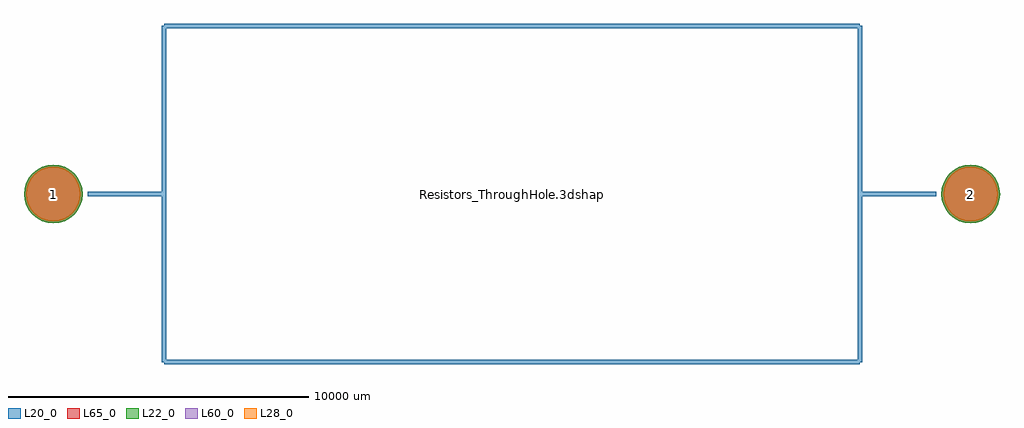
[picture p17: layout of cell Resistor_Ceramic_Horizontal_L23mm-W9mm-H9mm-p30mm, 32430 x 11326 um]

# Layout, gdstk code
import gdstk
lib = gdstk.Library(unit=1e-6, precision=1e-09)
def P(c, l, *ps):  # polygons
    for p in ps: c.add(gdstk.Polygon(p, *l))
L20_0 = (20, 0)
L22_0 = (22, 0)
L28_0 = (28, 0)
L60_0 = (60, 0)
L65_0 = (65, 0)

resistor_ceramic_horizon = lib.new_cell('Resistor_Ceramic_Horizontal_L23mm-W9mm-H9mm-p30mm')
P(resistor_ceramic_horizon, L22_0, [(16215,0),(16196.266,190.213),(16140.783,373.116),(16050.683,541.681),(15929.429,689.429),(15781.681,810.683),(15613.116,900.783),(15430.213,956.266),(15240,975),(15049.787,956.266),(14866.884,900.783),(14698.319,810.683),(14550.571,689.429),(14429.317,541.681),(14339.217,373.116),(14283.734,190.213),(14265,0),(14283.734,-190.213),(14339.217,-373.116),(14429.317,-541.681),(14550.571,-689.429),(14698.319,-810.683),(14866.884,-900.783),(15049.787,-956.266),(15240,-975),(15430.213,-956.266),(15613.116,-900.783),(15781.681,-810.683),(15929.429,-689.429),(16050.683,-541.681),(16140.783,-373.116),(16196.266,-190.213)],
  [(-14265,0),(-14283.734,190.213),(-14339.217,373.116),(-14429.317,541.681),(-14550.571,689.429),(-14698.319,810.683),(-14866.884,900.783),(-15049.787,956.266),(-15240,975),(-15430.213,956.266),(-15613.116,900.783),(-15781.681,810.683),(-15929.429,689.429),(-16050.683,541.681),(-16140.783,373.116),(-16196.266,190.213),(-16215,0),(-16196.266,-190.213),(-16140.783,-373.116),(-16050.683,-541.681),(-15929.429,-689.429),(-15781.681,-810.683),(-15613.116,-900.783),(-15430.213,-956.266),(-15240,-975),(-15049.787,-956.266),(-14866.884,-900.783),(-14698.319,-810.683),(-14550.571,-689.429),(-14429.317,-541.681),(-14339.217,-373.116),(-14283.734,-190.213)])
P(resistor_ceramic_horizon, L28_0, [(16140,0),(16122.707,175.581),(16071.492,344.415),(15988.323,500.013),(15876.396,636.396),(15740.013,748.323),(15584.415,831.492),(15415.581,882.707),(15240,900),(15064.419,882.707),(14895.585,831.492),(14739.987,748.323),(14603.604,636.396),(14491.677,500.013),(14408.508,344.415),(14357.293,175.581),(14340,0),(14357.293,-175.581),(14408.508,-344.415),(14491.677,-500.013),(14603.604,-636.396),(14739.987,-748.323),(14895.585,-831.492),(15064.419,-882.707),(15240,-900),(15415.581,-882.707),(15584.415,-831.492),(15740.013,-748.323),(15876.396,-636.396),(15988.323,-500.013),(16071.492,-344.415),(16122.707,-175.581)],
  [(-14340,0),(-14357.293,175.581),(-14408.508,344.415),(-14491.677,500.013),(-14603.604,636.396),(-14739.987,748.323),(-14895.585,831.492),(-15064.419,882.707),(-15240,900),(-15415.581,882.707),(-15584.415,831.492),(-15740.013,748.323),(-15876.396,636.396),(-15988.323,500.013),(-16071.492,344.415),(-16122.707,175.581),(-16140,0),(-16122.707,-175.581),(-16071.492,-344.415),(-15988.323,-500.013),(-15876.396,-636.396),(-15740.013,-748.323),(-15584.415,-831.492),(-15415.581,-882.707),(-15240,-900),(-15064.419,-882.707),(-14895.585,-831.492),(-14739.987,-748.323),(-14603.604,-636.396),(-14491.677,-500.013),(-14408.508,-344.415),(-14357.293,-175.581)])
P(resistor_ceramic_horizon, L60_0, [(16140,0),(16122.707,175.581),(16071.492,344.415),(15988.323,500.013),(15876.396,636.396),(15740.013,748.323),(15584.415,831.492),(15415.581,882.707),(15240,900),(15064.419,882.707),(14895.585,831.492),(14739.987,748.323),(14603.604,636.396),(14491.677,500.013),(14408.508,344.415),(14357.293,175.581),(14340,0),(14357.293,-175.581),(14408.508,-344.415),(14491.677,-500.013),(14603.604,-636.396),(14739.987,-748.323),(14895.585,-831.492),(15064.419,-882.707),(15240,-900),(15415.581,-882.707),(15584.415,-831.492),(15740.013,-748.323),(15876.396,-636.396),(15988.323,-500.013),(16071.492,-344.415),(16122.707,-175.581)],
  [(-14340,0),(-14357.293,175.581),(-14408.508,344.415),(-14491.677,500.013),(-14603.604,636.396),(-14739.987,748.323),(-14895.585,831.492),(-15064.419,882.707),(-15240,900),(-15415.581,882.707),(-15584.415,831.492),(-15740.013,748.323),(-15876.396,636.396),(-15988.323,500.013),(-16071.492,344.415),(-16122.707,175.581),(-16140,0),(-16122.707,-175.581),(-16071.492,-344.415),(-15988.323,-500.013),(-15876.396,-636.396),(-15740.013,-748.323),(-15584.415,-831.492),(-15415.581,-882.707),(-15240,-900),(-15064.419,-882.707),(-14895.585,-831.492),(-14739.987,-748.323),(-14603.604,-636.396),(-14491.677,-500.013),(-14408.508,-344.415),(-14357.293,-175.581)])
P(resistor_ceramic_horizon, L65_0, [(16215,0),(16196.266,190.213),(16140.783,373.116),(16050.683,541.681),(15929.429,689.429),(15781.681,810.683),(15613.116,900.783),(15430.213,956.266),(15240,975),(15049.787,956.266),(14866.884,900.783),(14698.319,810.683),(14550.571,689.429),(14429.317,541.681),(14339.217,373.116),(14283.734,190.213),(14265,0),(14283.734,-190.213),(14339.217,-373.116),(14429.317,-541.681),(14550.571,-689.429),(14698.319,-810.683),(14866.884,-900.783),(15049.787,-956.266),(15240,-975),(15430.213,-956.266),(15613.116,-900.783),(15781.681,-810.683),(15929.429,-689.429),(16050.683,-541.681),(16140.783,-373.116),(16196.266,-190.213)],
  [(-14265,0),(-14283.734,190.213),(-14339.217,373.116),(-14429.317,541.681),(-14550.571,689.429),(-14698.319,810.683),(-14866.884,900.783),(-15049.787,956.266),(-15240,975),(-15430.213,956.266),(-15613.116,900.783),(-15781.681,810.683),(-15929.429,689.429),(-16050.683,541.681),(-16140.783,373.116),(-16196.266,190.213),(-16215,0),(-16196.266,-190.213),(-16140.783,-373.116),(-16050.683,-541.681),(-15929.429,-689.429),(-15781.681,-810.683),(-15613.116,-900.783),(-15430.213,-956.266),(-15240,-975),(-15049.787,-956.266),(-14866.884,-900.783),(-14698.319,-810.683),(-14550.571,-689.429),(-14429.317,-541.681),(-14339.217,-373.116),(-14283.734,-190.213)])
resistor_ceramic_horizon.add(gdstk.FlexPath([(11557,-4572),(11557,4572)], 149.998, ends="flush", simple_path=True, layer=20, datatype=0))  # L20_0
resistor_ceramic_horizon.add(gdstk.FlexPath([(-11557,4572),(-11557,-4572)], 149.998, ends="flush", simple_path=True, layer=20, datatype=0))  # L20_0
resistor_ceramic_horizon.add(gdstk.FlexPath([(-11557,0),(-14097,0)], 149.998, ends="flush", simple_path=True, layer=20, datatype=0))  # L20_0
resistor_ceramic_horizon.add(gdstk.FlexPath([(11557,0),(14097,0)], 149.998, ends="flush", simple_path=True, layer=20, datatype=0))  # L20_0
resistor_ceramic_horizon.add(gdstk.FlexPath([(11557,5588),(11557,4572)], 149.998, ends="flush", simple_path=True, layer=20, datatype=0))  # L20_0
resistor_ceramic_horizon.add(gdstk.FlexPath([(-11557,5588),(11557,5588)], 149.998, ends="flush", simple_path=True, layer=20, datatype=0))  # L20_0
resistor_ceramic_horizon.add(gdstk.FlexPath([(-11557,4572),(-11557,5588)], 149.998, ends="flush", simple_path=True, layer=20, datatype=0))  # L20_0
resistor_ceramic_horizon.add(gdstk.FlexPath([(11557,-5588),(11557,-4572)], 149.998, ends="flush", simple_path=True, layer=20, datatype=0))  # L20_0
resistor_ceramic_horizon.add(gdstk.FlexPath([(-11557,-5588),(11557,-5588)], 149.998, ends="flush", simple_path=True, layer=20, datatype=0))  # L20_0
resistor_ceramic_horizon.add(gdstk.FlexPath([(-11557,-4572),(-11557,-5588)], 149.998, ends="flush", simple_path=True, layer=20, datatype=0))  # L20_0
resistor_ceramic_horizon.add(gdstk.Label('Resistors_ThroughHole.3dshapes/Resistor_Ceramic_Horizontal_L23mm-W9mm-H9mm-p30mm.wrl', (0,0), layer=12, texttype=0))
resistor_ceramic_horizon.add(gdstk.Label('2', (15240,0), layer=28, texttype=0))
resistor_ceramic_horizon.add(gdstk.Label('1', (-15240,0), layer=28, texttype=0))
resistor_ceramic_horizon.add(gdstk.Label('type', (-635,-7620), layer=9, texttype=0))
resistor_ceramic_horizon.add(gdstk.Label('devicename', (0,6985), layer=9, texttype=0))

lib.write_gds('Resistor_Ceramic_Horizontal_L23mm-W9mm-H9mm-p30mm.gds')
